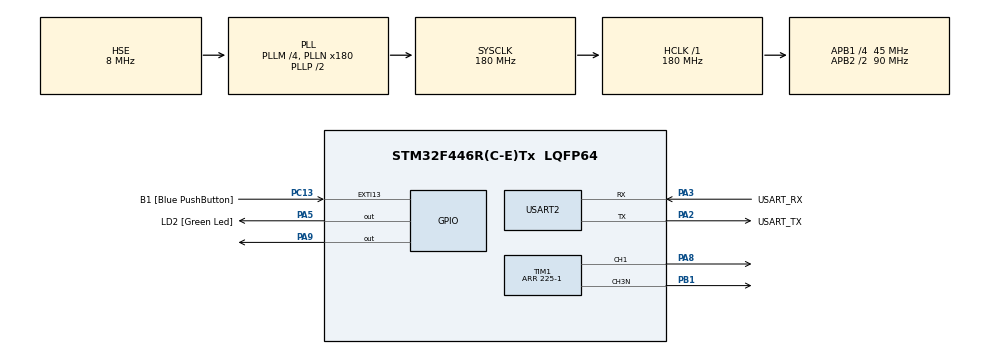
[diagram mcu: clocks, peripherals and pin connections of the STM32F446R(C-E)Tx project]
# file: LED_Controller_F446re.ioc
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Dma.Request0=TIM1_CH1
Dma.Request1=TIM1_CH3
Dma.TIM1_CH1.0.Direction=DMA_MEMORY_TO_PERIPH
Dma.TIM1_CH1.0.FIFOMode=DMA_FIFOMODE_DISABLE
Dma.TIM1_CH1.0.Instance=DMA2_Stream1
Dma.TIM1_CH1.0.MemDataAlignment=DMA_MDATAALIGN_HALFWORD
Dma.TIM1_CH1.0.MemInc=DMA_MINC_ENABLE
Dma.TIM1_CH1.0.Mode=DMA_NORMAL
Dma.TIM1_CH1.0.PeriphDataAlignment=DMA_PDATAALIGN_HALFWORD
Dma.TIM1_CH1.0.PeriphInc=DMA_PINC_DISABLE
Dma.TIM1_CH1.0.Priority=DMA_PRIORITY_LOW
Dma.TIM1_CH3.1.Direction=DMA_MEMORY_TO_PERIPH
Dma.TIM1_CH3.1.FIFOMode=DMA_FIFOMODE_DISABLE
Dma.TIM1_CH3.1.Instance=DMA2_Stream6
Dma.TIM1_CH3.1.MemDataAlignment=DMA_MDATAALIGN_HALFWORD
Dma.TIM1_CH3.1.MemInc=DMA_MINC_ENABLE
Dma.TIM1_CH3.1.Mode=DMA_NORMAL
Dma.TIM1_CH3.1.PeriphDataAlignment=DMA_PDATAALIGN_HALFWORD
Dma.TIM1_CH3.1.PeriphInc=DMA_PINC_DISABLE
Dma.TIM1_CH3.1.Priority=DMA_PRIORITY_LOW
Mcu.Family=STM32F4
Mcu.Name=STM32F446R(C-E)Tx
Mcu.Package=LQFP64
NVIC.DMA2_Stream1_IRQn=true\:0\:0\:false\:false\:true\:false\:true\:true
NVIC.DMA2_Stream6_IRQn=true\:0\:0\:false\:false\:true\:false\:true\:true
NVIC.PriorityGroup=NVIC_PRIORITYGROUP_0
NVIC.TIM7_IRQn=true\:0\:0\:false\:false\:true\:true\:true\:true
PA13.GPIO_Label=TMS
PA13.Mode=Serial_Wire
PA13.Signal=SYS_JTMS-SWDIO
PA14.GPIO_Label=TCK
PA14.Mode=Serial_Wire
PA14.Signal=SYS_JTCK-SWCLK
PA2.GPIO_Label=USART_TX
PA2.Mode=Asynchronous
PA2.Signal=USART2_TX
PA3.GPIO_Label=USART_RX
PA3.Mode=Asynchronous
PA3.Signal=USART2_RX
PA5.GPIO_Label=LD2 [Green Led]
PA5.Signal=GPIO_Output
PA8.Signal=S_TIM1_CH1
PA9.Signal=GPIO_Output
PB1.Mode=PWM Generation3 CH3N
PB1.Signal=TIM1_CH3N
PB3.GPIO_Label=SWO
PB3.Signal=SYS_JTDO-SWO
PC13.GPIO_Label=B1 [Blue PushButton]
PC13.GPIO_ModeDefaultEXTI=GPIO_MODE_IT_FALLING
PC13.Signal=GPXTI13
PC14-OSC32_IN.Mode=LSE-External-Oscillator
PC14-OSC32_IN.Signal=RCC_OSC32_IN
PC15-OSC32_OUT.Mode=LSE-External-Oscillator
PC15-OSC32_OUT.Signal=RCC_OSC32_OUT
PH0-OSC_IN.Mode=HSE-External-Oscillator
PH0-OSC_IN.Signal=RCC_OSC_IN
PH1-OSC_OUT.Mode=HSE-External-Oscillator
PH1-OSC_OUT.Signal=RCC_OSC_OUT
ProjectManager.HeapSize=0x200
ProjectManager.StackSize=0x400
ProjectManager.TargetToolchain=STM32CubeIDE
RCC.48MHZClocksFreq_Value=84000000
RCC.AHBFreq_Value=180000000
RCC.APB1CLKDivider=RCC_HCLK_DIV4
RCC.APB1Freq_Value=45000000
RCC.APB1TimFreq_Value=90000000
RCC.APB2CLKDivider=RCC_HCLK_DIV2
RCC.APB2Freq_Value=90000000
RCC.APB2TimFreq_Value=180000000
RCC.CortexFreq_Value=180000000
RCC.FLatency-AdvancedSettings=FLASH_LATENCY_5
RCC.HCLKFreq_Value=180000000
RCC.HSE_VALUE=8000000
RCC.HSI_VALUE=16000000
RCC.PLLM=4
RCC.PLLN=180
RCC.PLLSourceVirtual=RCC_PLLSOURCE_HSE
RCC.SYSCLKFreq_VALUE=180000000
RCC.SYSCLKSource=RCC_SYSCLKSOURCE_PLLCLK
RCC.USBFreq_Value=180000000
RCC.VCOOutputFreq_Value=360000000
SH.S_TIM1_CH1.0=TIM1_CH1,PWM Generation1 CH1
TIM1.AutoReloadPreload=TIM_AUTORELOAD_PRELOAD_DISABLE
TIM1.Channel-PWM\ Generation1\ CH1=TIM_CHANNEL_1
TIM1.Channel-PWM\ Generation3\ CH3N=TIM_CHANNEL_3
TIM1.Period=225-1
TIM7.Period=10000-1
TIM7.Prescaler=9000-1
USART2.VirtualMode=VM_ASYNC
VP_TIM1_VS_ClockSourceINT.Mode=Internal
VP_TIM7_VS_ClockSourceINT.Mode=Enable_Timer
board=NUCLEO-F446RE

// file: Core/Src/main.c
/* USER CODE BEGIN Header */
/**
  ******************************************************************************
  * @file           : main.c
  * @brief          : Main program body
  ******************************************************************************
  * @attention
  *
  * Copyright (c) 2024 STMicroelectronics.
  * All rights reserved.
  *
  * This software is licensed under terms that can be found in the LICENSE file
  * in the root directory of this software component.
  * If no LICENSE file comes with this software, it is provided AS-IS.
  *
  ******************************************************************************
  */
/* USER CODE END Header */
#include "main.h"

/* USER CODE BEGIN Includes */
#include <stdbool.h>
/* USER CODE END Includes */

/* USER CODE BEGIN PM */
#define DATA_SIZE 24
#define RST_CODE_LENGTH (3*24)
#define CODE_1_COMPARE 154
#define CODE_0_COMPARE 72
#define NUM_LEDS 60
/* USER CODE END PM */

TIM_HandleTypeDef htim1;
TIM_HandleTypeDef htim7;
DMA_HandleTypeDef hdma_tim1_ch1;
DMA_HandleTypeDef hdma_tim1_ch3;

UART_HandleTypeDef huart2;

void SystemClock_Config(void);
static void MX_GPIO_Init(void);
static void MX_DMA_Init(void);
static void MX_USART2_UART_Init(void);
static void MX_TIM1_Init(void);
static void MX_TIM7_Init(void);
/* USER CODE BEGIN PFP */
static void send_data_hex(uint32_t colors[NUM_LEDS]);
void change_led_color(uint32_t color);
void led_chaser(uint32_t color);
/* USER CODE END PFP */

int main(void)
{

  /* MCU Configuration--------------------------------------------------------*/

  /* Reset of all peripherals, Initializes the Flash interface and the Systick. */
  HAL_Init();

  /* Configure the system clock */
  SystemClock_Config();

  /* Initialize all configured peripherals */
  MX_GPIO_Init();
  MX_DMA_Init();
  MX_USART2_UART_Init();
  MX_TIM1_Init();
  MX_TIM7_Init();
  /* USER CODE BEGIN 2 */
  change_led_color(0x000000);
  uint32_t color1 = 0x440000;
  uint32_t color2 = 0x004400;
  uint32_t color3 = 0x000044;
  /* USER CODE END 2 */

  /* Infinite loop */
  /* USER CODE BEGIN WHILE */
  while (1)
  {
	  HAL_Delay(2000);
	  change_led_color(color1);
	  HAL_Delay(2000);
	  change_led_color(color2);
	  HAL_Delay(2000);
	  change_led_color(color3);
	  HAL_Delay(4000);
	  led_chaser(0x444444);

    /* USER CODE END WHILE */

  }
}

void SystemClock_Config(void)
{
  RCC_OscInitTypeDef RCC_OscInitStruct = {0};
  RCC_ClkInitTypeDef RCC_ClkInitStruct = {0};

  /** Configure the main internal regulator output voltage
  */
  __HAL_RCC_PWR_CLK_ENABLE();
  __HAL_PWR_VOLTAGESCALING_CONFIG(PWR_REGULATOR_VOLTAGE_SCALE1);

  /** Initializes the RCC Oscillators according to the specified parameters
  * in the RCC_OscInitTypeDef structure.
  */
  RCC_OscInitStruct.OscillatorType = RCC_OSCILLATORTYPE_HSE;
  RCC_OscInitStruct.HSEState = RCC_HSE_ON;
  RCC_OscInitStruct.PLL.PLLState = RCC_PLL_ON;
  RCC_OscInitStruct.PLL.PLLSource = RCC_PLLSOURCE_HSE;
  RCC_OscInitStruct.PLL.PLLM = 4;
  RCC_OscInitStruct.PLL.PLLN = 180;
  RCC_OscInitStruct.PLL.PLLP = RCC_PLLP_DIV2;
  RCC_OscInitStruct.PLL.PLLQ = 2;
  RCC_OscInitStruct.PLL.PLLR = 2;
  if (HAL_RCC_OscConfig(&RCC_OscInitStruct) != HAL_OK)
  {
    Error_Handler();
  }

  /** Activate the Over-Drive mode
  */
  if (HAL_PWREx_EnableOverDrive() != HAL_OK)
  {
    Error_Handler();
  }

  /** Initializes the CPU, AHB and APB buses clocks
  */
  RCC_ClkInitStruct.ClockType = RCC_CLOCKTYPE_HCLK|RCC_CLOCKTYPE_SYSCLK
                              |RCC_CLOCKTYPE_PCLK1|RCC_CLOCKTYPE_PCLK2;
  RCC_ClkInitStruct.SYSCLKSource = RCC_SYSCLKSOURCE_PLLCLK;
  RCC_ClkInitStruct.AHBCLKDivider = RCC_SYSCLK_DIV1;
  RCC_ClkInitStruct.APB1CLKDivider = RCC_HCLK_DIV4;
  RCC_ClkInitStruct.APB2CLKDivider = RCC_HCLK_DIV2;

  if (HAL_RCC_ClockConfig(&RCC_ClkInitStruct, FLASH_LATENCY_5) != HAL_OK)
  {
    Error_Handler();
  }
}

static void MX_TIM1_Init(void)
{

  TIM_ClockConfigTypeDef sClockSourceConfig = {0};
  TIM_MasterConfigTypeDef sMasterConfig = {0};
  TIM_OC_InitTypeDef sConfigOC = {0};
  TIM_BreakDeadTimeConfigTypeDef sBreakDeadTimeConfig = {0};

  htim1.Instance = TIM1;
  htim1.Init.Prescaler = 0;
  htim1.Init.CounterMode = TIM_COUNTERMODE_UP;
  htim1.Init.Period = 225-1;
  htim1.Init.ClockDivision = TIM_CLOCKDIVISION_DIV1;
  htim1.Init.RepetitionCounter = 0;
  htim1.Init.AutoReloadPreload = TIM_AUTORELOAD_PRELOAD_DISABLE;
  if (HAL_TIM_Base_Init(&htim1) != HAL_OK)
  {
    Error_Handler();
  }
  sClockSourceConfig.ClockSource = TIM_CLOCKSOURCE_INTERNAL;
  if (HAL_TIM_ConfigClockSource(&htim1, &sClockSourceConfig) != HAL_OK)
  {
    Error_Handler();
  }
  if (HAL_TIM_PWM_Init(&htim1) != HAL_OK)
  {
    Error_Handler();
  }
  sMasterConfig.MasterOutputTrigger = TIM_TRGO_RESET;
  sMasterConfig.MasterSlaveMode = TIM_MASTERSLAVEMODE_DISABLE;
  if (HAL_TIMEx_MasterConfigSynchronization(&htim1, &sMasterConfig) != HAL_OK)
  {
    Error_Handler();
  }
  sConfigOC.OCMode = TIM_OCMODE_PWM1;
  sConfigOC.Pulse = 0;
  sConfigOC.OCPolarity = TIM_OCPOLARITY_HIGH;
  sConfigOC.OCNPolarity = TIM_OCNPOLARITY_HIGH;
  sConfigOC.OCFastMode = TIM_OCFAST_DISABLE;
  sConfigOC.OCIdleState = TIM_OCIDLESTATE_RESET;
  sConfigOC.OCNIdleState = TIM_OCNIDLESTATE_RESET;
  if (HAL_TIM_PWM_ConfigChannel(&htim1, &sConfigOC, TIM_CHANNEL_1) != HAL_OK)
  {
    Error_Handler();
  }
  if (HAL_TIM_PWM_ConfigChannel(&htim1, &sConfigOC, TIM_CHANNEL_3) != HAL_OK)
  {
    Error_Handler();
  }
  sBreakDeadTimeConfig.OffStateRunMode = TIM_OSSR_DISABLE;
  sBreakDeadTimeConfig.OffStateIDLEMode = TIM_OSSI_DISABLE;
  sBreakDeadTimeConfig.LockLevel = TIM_LOCKLEVEL_OFF;
  sBreakDeadTimeConfig.DeadTime = 0;
  sBreakDeadTimeConfig.BreakState = TIM_BREAK_DISABLE;
  sBreakDeadTimeConfig.BreakPolarity = TIM_BREAKPOLARITY_HIGH;
  sBreakDeadTimeConfig.AutomaticOutput = TIM_AUTOMATICOUTPUT_DISABLE;
  if (HAL_TIMEx_ConfigBreakDeadTime(&htim1, &sBreakDeadTimeConfig) != HAL_OK)
  {
    Error_Handler();
  }
  HAL_TIM_MspPostInit(&htim1);

}

static void MX_TIM7_Init(void)
{

  TIM_MasterConfigTypeDef sMasterConfig = {0};

  htim7.Instance = TIM7;
  htim7.Init.Prescaler = 9000-1;
  htim7.Init.CounterMode = TIM_COUNTERMODE_UP;
  htim7.Init.Period = 10000-1;
  htim7.Init.AutoReloadPreload = TIM_AUTORELOAD_PRELOAD_DISABLE;
  if (HAL_TIM_Base_Init(&htim7) != HAL_OK)
  {
    Error_Handler();
  }
  sMasterConfig.MasterOutputTrigger = TIM_TRGO_RESET;
  sMasterConfig.MasterSlaveMode = TIM_MASTERSLAVEMODE_DISABLE;
  if (HAL_TIMEx_MasterConfigSynchronization(&htim7, &sMasterConfig) != HAL_OK)
  {
    Error_Handler();
  }

}

static void MX_USART2_UART_Init(void)
{

  huart2.Instance = USART2;
  huart2.Init.BaudRate = 115200;
  huart2.Init.WordLength = UART_WORDLENGTH_8B;
  huart2.Init.StopBits = UART_STOPBITS_1;
  huart2.Init.Parity = UART_PARITY_NONE;
  huart2.Init.Mode = UART_MODE_TX_RX;
  huart2.Init.HwFlowCtl = UART_HWCONTROL_NONE;
  huart2.Init.OverSampling = UART_OVERSAMPLING_16;
  if (HAL_UART_Init(&huart2) != HAL_OK)
  {
    Error_Handler();
  }

}

static void MX_DMA_Init(void)
{

  /* DMA controller clock enable */
  __HAL_RCC_DMA2_CLK_ENABLE();

  /* DMA interrupt init */
  /* DMA2_Stream1_IRQn interrupt configuration */
  HAL_NVIC_SetPriority(DMA2_Stream1_IRQn, 0, 0);
  HAL_NVIC_EnableIRQ(DMA2_Stream1_IRQn);
  /* DMA2_Stream6_IRQn interrupt configuration */
  HAL_NVIC_SetPriority(DMA2_Stream6_IRQn, 0, 0);
  HAL_NVIC_EnableIRQ(DMA2_Stream6_IRQn);

}

static void MX_GPIO_Init(void)
{
  GPIO_InitTypeDef GPIO_InitStruct = {0};

  /* GPIO Ports Clock Enable */
  __HAL_RCC_GPIOC_CLK_ENABLE();
  __HAL_RCC_GPIOH_CLK_ENABLE();
  __HAL_RCC_GPIOA_CLK_ENABLE();
  __HAL_RCC_GPIOB_CLK_ENABLE();

  /*Configure GPIO pin Output Level */
  HAL_GPIO_WritePin(GPIOA, LD2_Pin|GPIO_PIN_9, GPIO_PIN_RESET);

  /*Configure GPIO pin : B1_Pin */
  GPIO_InitStruct.Pin = B1_Pin;
  GPIO_InitStruct.Mode = GPIO_MODE_IT_FALLING;
  GPIO_InitStruct.Pull = GPIO_NOPULL;
  HAL_GPIO_Init(B1_GPIO_Port, &GPIO_InitStruct);

  /*Configure GPIO pins : LD2_Pin PA9 */
  GPIO_InitStruct.Pin = LD2_Pin|GPIO_PIN_9;
  GPIO_InitStruct.Mode = GPIO_MODE_OUTPUT_PP;
  GPIO_InitStruct.Pull = GPIO_NOPULL;
  GPIO_InitStruct.Speed = GPIO_SPEED_FREQ_LOW;
  HAL_GPIO_Init(GPIOA, &GPIO_InitStruct);

}

/* USER CODE BEGIN 4 */
//static void led_init() {
//	// Initalize all LEDs to be black
//
//
//}
void change_led_color(uint32_t color) {
	uint32_t colors[NUM_LEDS] = {0};
	for(int i = 0; i < NUM_LEDS; i++) {
		colors[i] = color;
	}
	send_data_hex(colors);
}
static void send_data_hex(uint32_t colors[NUM_LEDS]) {
	uint16_t pwm_data[DATA_SIZE * NUM_LEDS + RST_CODE_LENGTH] = {0};

	int running_idx = 0;
	for(int i = 0; i < NUM_LEDS; i++) { // For each color
		for(int j = DATA_SIZE - 1; j >= 0; j--) { // For every 24 bits in each color
			// If bit = 1, use CODE_1, else (bit = 0) use CODE_0
			pwm_data[running_idx] = (colors[i] & (1 << j)) ? CODE_1_COMPARE : CODE_0_COMPARE;
			running_idx++;
		}
	}

	// Note: the RESET portion of the data should already be 0 due to pwm_data initialization

//	HAL_TIM_PWM_Start_DMA(&htim1, TIM_CHANNEL_1, (uint32_t*) pwm_data, DATA_SIZE * NUM_LEDS + RST_CODE_LENGTH);
	HAL_TIMEx_PWMN_Start_DMA(&htim1, TIM_CHANNEL_3, (uint32_t*) pwm_data, DATA_SIZE * NUM_LEDS + RST_CODE_LENGTH);
}
void led_chaser(uint32_t color) {
	uint32_t colors[NUM_LEDS] = {0};
	for(int i = 0; i < NUM_LEDS; i++) {
		colors[i] = color;
		if(i >= 10) {
			colors[i - 10] = 0;
		}
		send_data_hex(colors);
		HAL_Delay(75);
	}
}
/* USER CODE END 4 */

void Error_Handler(void)
{
  __disable_irq();
  while (1)
  {
  }
}
